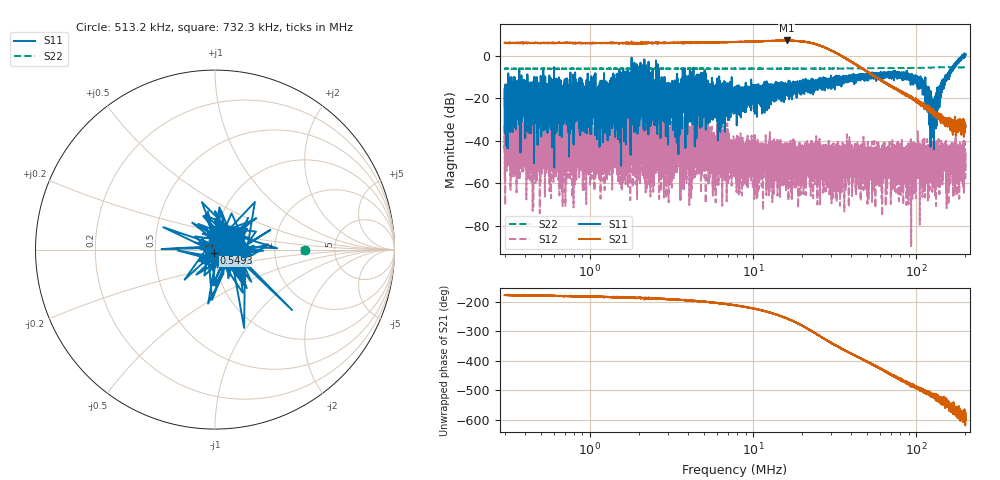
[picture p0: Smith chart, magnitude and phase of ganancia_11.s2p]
# Hz S DB R 50
! CMT, M5065, 19127446, 24.2.4/2
! Date: 11/1/2024 3:12:53 PM
! Data: Format (Calibration Info)
! Freq	S11:dB/Ang(F2)	S21:dB/Ang(F2)	S12:dB/Ang(F2)	S22:dB/Ang(F2)
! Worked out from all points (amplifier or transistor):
!   9000 points, 300 kHz to 200 MHz, reference 50 ohm
!   highest |S21| = 7.3 dB at 16.12 MHz (marker M1)
!   |S21| within 3 dB of that: start of sweep to 26.75 MHz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
!   unconditionally stable (mu >= 1): start of sweep to 190.2 MHz; 191.8981 MHz to 192.6573 MHz; 192.8711 MHz to 193.6342 MHz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
!   at 886.8 kHz: K = 26.45, MAG = 7.5 dB, |S12| = -43.4 dB
!   at 7.749 MHz: K = 25.92, MAG = 7.9 dB, |S12| = -43.4 dB
!   at 200 MHz: K = -3029.77, MSG = 12.7 dB, |S12| = -58.0 dB
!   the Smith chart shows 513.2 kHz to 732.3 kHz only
!   S11 on the Smith chart (normalised r, x): 513.2 kHz: 1.38, -0.05; 549.3 kHz: 0.99, -0.04; 732.3 kHz: 0.93, -0.34
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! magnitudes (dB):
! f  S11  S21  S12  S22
! 300 kHz  -36.2  6.2  -40.2  -6.0
! 310.1 kHz  -26.3  6.1  -44.2  -6.0
! 332.2 kHz  -13.8  6.0  -42.3  -6.0
! 513.2 kHz  -15.9  6.0  -53.1  -6.0
! 549.3 kHz  -33.4  6.1  -41.4  -6.0
! 732.3 kHz  -15.0  6.2  -57.3  -6.1
! 886.8 kHz  -14.4  6.1  -43.4  -6.0
! 1.493 MHz  -24.6  6.1  -51.8  -6.0
! 1.83 MHz  -7.3  5.8  -44.3  -6.1
! 2.621 MHz  -19.2  6.2  -41.8  -6.0
! 4.13 MHz  -7.2  6.2  -37.6  -6.0
! 4.372 MHz  -18.9  6.3  -47.4  -6.0
! 5.502 MHz  -16.0  6.4  -45.9  -6.0
! 7.749 MHz  -26.8  6.6  -43.4  -6.0
! 16.12 MHz  -13.3  7.3  -42.9  -6.0
! 22.91 MHz  -10.7  6.1  -41.7  -6.0
! 67.71 MHz  -9.0  -13.7  -57.1  -5.7
! 105.5 MHz  -12.4  -21.4  -46.0  -5.6
! 128.5 MHz  -34.9  -26.2  -44.9  -5.4
! 147 MHz  -14.2  -31.7  -43.0  -5.3
! 188.1 MHz  -1.3  -31.1  -45.5  -5.4
! 200 MHz  1.0  -32.7  -58.0  -5.4
